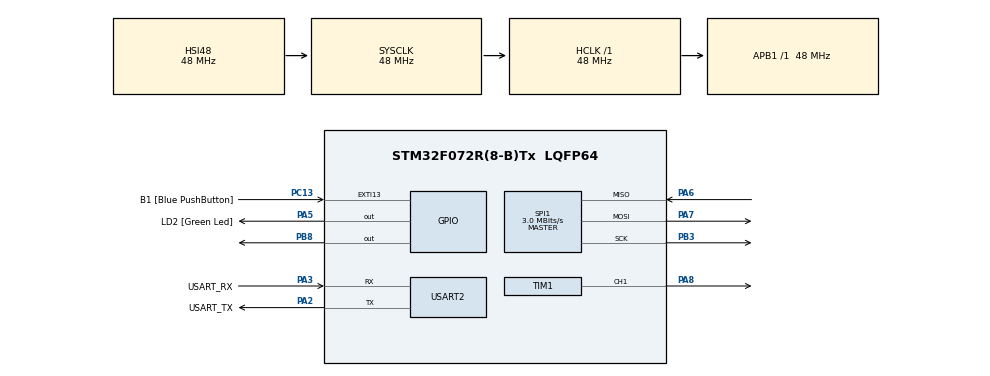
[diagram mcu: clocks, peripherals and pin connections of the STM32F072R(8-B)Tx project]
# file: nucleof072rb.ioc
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Mcu.Family=STM32F0
Mcu.Name=STM32F072R(8-B)Tx
Mcu.Package=LQFP64
PA13.GPIO_Label=TMS
PA13.Mode=Serial_Wire
PA13.Signal=SYS_SWDIO
PA14.GPIO_Label=TCK
PA14.Mode=Serial_Wire
PA14.Signal=SYS_SWCLK
PA2.GPIO_Label=USART_TX
PA2.GPIO_Mode=GPIO_MODE_AF_PP
PA2.GPIO_PuPd=GPIO_NOPULL
PA2.GPIO_Speed=GPIO_SPEED_FREQ_LOW
PA2.Mode=Asynchronous
PA2.Signal=USART2_TX
PA3.GPIO_Label=USART_RX
PA3.GPIO_Mode=GPIO_MODE_AF_PP
PA3.GPIO_PuPd=GPIO_NOPULL
PA3.GPIO_Speed=GPIO_SPEED_FREQ_LOW
PA3.Mode=Asynchronous
PA3.Signal=USART2_RX
PA5.GPIO_Label=LD2 [Green Led]
PA5.GPIO_Mode=GPIO_MODE_OUTPUT_PP
PA5.GPIO_PuPd=GPIO_NOPULL
PA5.GPIO_Speed=GPIO_SPEED_FREQ_LOW
PA5.Signal=GPIO_Output
PA6.Mode=Full_Duplex_Master
PA6.Signal=SPI1_MISO
PA7.Mode=Full_Duplex_Master
PA7.Signal=SPI1_MOSI
PA8.Signal=S_TIM1_CH1
PB3.Mode=Full_Duplex_Master
PB3.Signal=SPI1_SCK
PB8.Signal=GPIO_Output
PC13.GPIO_Label=B1 [Blue PushButton]
PC13.GPIO_ModeDefaultEXTI=GPIO_MODE_IT_FALLING
PC13.Signal=GPXTI13
PC14-OSC32_IN.Mode=LSE-External-Oscillator
PC14-OSC32_IN.Signal=RCC_OSC32_IN
PC15-OSC32_OUT.Mode=LSE-External-Oscillator
PC15-OSC32_OUT.Signal=RCC_OSC32_OUT
PF0-OSC_IN.Mode=HSE-External-Clock-Source
PF0-OSC_IN.Signal=RCC_OSC_IN
PF1-OSC_OUT.Signal=RCC_OSC_OUT
ProjectManager.HeapSize=0x200
ProjectManager.StackSize=0x400
ProjectManager.TargetToolchain=STM32CubeIDE
RCC.AHBFreq_Value=48000000
RCC.APB1Freq_Value=48000000
RCC.APB1TimFreq_Value=48000000
RCC.FLatency-AdvancedSettings=FLASH_LATENCY_1
RCC.HCLKFreq_Value=48000000
RCC.PLLDivider=RCC_PREDIV_DIV2
RCC.PLLMUL=RCC_PLL_MUL12
RCC.PREFETCH_ENABLE-AdvancedSettings=1
RCC.SYSCLKFreq_VALUE=48000000
RCC.SYSCLKSource=RCC_SYSCLKSOURCE_HSI48
SH.S_TIM1_CH1.0=TIM1_CH1,PWM Generation1 CH1
SPI1.BaudRatePrescaler=SPI_BAUDRATEPRESCALER_16
SPI1.CalculateBaudRate=3.0 MBits/s
SPI1.DataSize=SPI_DATASIZE_8BIT
SPI1.Direction=SPI_DIRECTION_2LINES
SPI1.Mode=SPI_MODE_MASTER
SPI1.VirtualType=VM_MASTER
TIM1.Channel-PWM\ Generation1\ CH1=TIM_CHANNEL_1
TIM1.Period=59999
TIM1.Prescaler=15
TIM1.Pulse-PWM\ Generation1\ CH1=4500
USART2.VirtualMode=VM_ASYNC
USART2.VirtualMode-Asynchronous=VM_ASYNC
VP_TIM1_VS_ClockSourceINT.Mode=Internal
board=NUCLEO-F072RB

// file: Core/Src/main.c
/* USER CODE BEGIN Header */
/**
  ******************************************************************************
  * @file           : main.c
  * @brief          : Main program body
  ******************************************************************************
  * @attention
  *
  * <h2><center>&copy; Copyright (c) 2021 STMicroelectronics.
  * All rights reserved.</center></h2>
  *
  * This software component is licensed by ST under BSD 3-Clause license,
  * the "License"; You may not use this file except in compliance with the
  * License. You may obtain a copy of the License at:
  *                        opensource.org/licenses/BSD-3-Clause
  *
  ******************************************************************************
  */
/* USER CODE END Header */
#include "main.h"
#include "spi.h"
#include "tim.h"
#include "usart.h"
#include "gpio.h"

/* USER CODE BEGIN PV */
// txBuf
// [1] - Start bit is 1
// [2] - Bit 7 (SGL/DIFF) = 1
// [3] - Bits 6-4 (D2, D1, D0) = 000
uint8_t txBuf[3] = {0x01, 0x80, 0x00};      // Buffer for data sent TO the ADC
uint8_t rxBuf[3];      // Buffer for data received FROM the ADC
uint16_t adcVal = 0;  // 10-bit result (0-1023)
uint16_t pulseVal = 0; // PWM pulse width (3000-6000)
const uint8_t ADC_MSG_LEN = 3;
const uint32_t SPI_TIMEOUT = 10;
const uint16_t PULSE_MIN = 3000;
const uint16_t PULSE_RANGE = 3000;
const float ADC_MAX_RES = 1023.0f;
HAL_StatusTypeDef spiStatus;
/* USER CODE END PV */

void SystemClock_Config(void);

int main(void)
{

  /* MCU Configuration--------------------------------------------------------*/

  /* Reset of all peripherals, Initializes the Flash interface and the Systick. */
  HAL_Init();

  /* Configure the system clock */
  SystemClock_Config();

  /* Initialize all configured peripherals */
  MX_GPIO_Init();
  MX_USART2_UART_Init();
  MX_SPI1_Init();
  MX_TIM1_Init();
  /* USER CODE BEGIN 2 */
  HAL_TIM_PWM_Start(&htim1, TIM_CHANNEL_1);
  HAL_GPIO_WritePin(GPIOB, GPIO_PIN_8, GPIO_PIN_SET); // Set CS high initially
  /* USER CODE END 2 */

  /* Infinite loop */
  /* USER CODE BEGIN WHILE */
  while (1) {
  // Set to low to enable ADC
  HAL_GPIO_WritePin(GPIOA, GPIO_PIN_8, GPIO_PIN_RESET);
  // Send dummy and receive
  spiStatus = HAL_SPI_TransmitReceive(&hspi1, txBuf, rxBuf, ADC_MSG_LEN, SPI_TIMEOUT);
  // Set back to high to disable ADC
  HAL_GPIO_WritePin(GPIOA, GPIO_PIN_8, GPIO_PIN_SET);
  // Check is SPI was successful
  if (spiStatus == HAL_OK) {

      // Byte 1: Ignored. Byte 2: bits 0-1 are B9-8. Byte 3: bits 0-7 are B7-0.
    adcVal = ((rxBuf[1] & 0x03) << 8) | rxBuf[2];

    // Map to pulse range using floating point to avoid integer division truncation
    pulseVal = PULSE_MIN + (uint16_t)((float)adcVal * (float)PULSE_RANGE / ADC_MAX_RES);

    __HAL_TIM_SET_COMPARE(&htim1, TIM_CHANNEL_1, pulseVal);
  } else {
    printf("SPI Error: %d\r\n", spiStatus);
  }

  HAL_Delay(10);
    /* USER CODE END WHILE */

  }
}

void SystemClock_Config(void)
{
  RCC_OscInitTypeDef RCC_OscInitStruct = {0};
  RCC_ClkInitTypeDef RCC_ClkInitStruct = {0};
  RCC_PeriphCLKInitTypeDef PeriphClkInit = {0};

  /** Initializes the RCC Oscillators according to the specified parameters
  * in the RCC_OscInitTypeDef structure.
  */
  RCC_OscInitStruct.OscillatorType = RCC_OSCILLATORTYPE_HSI48;
  RCC_OscInitStruct.HSI48State = RCC_HSI48_ON;
  RCC_OscInitStruct.PLL.PLLState = RCC_PLL_NONE;
  if (HAL_RCC_OscConfig(&RCC_OscInitStruct) != HAL_OK)
  {
    Error_Handler();
  }
  /** Initializes the CPU, AHB and APB buses clocks
  */
  RCC_ClkInitStruct.ClockType = RCC_CLOCKTYPE_HCLK|RCC_CLOCKTYPE_SYSCLK
                              |RCC_CLOCKTYPE_PCLK1;
  RCC_ClkInitStruct.SYSCLKSource = RCC_SYSCLKSOURCE_HSI48;
  RCC_ClkInitStruct.AHBCLKDivider = RCC_SYSCLK_DIV1;
  RCC_ClkInitStruct.APB1CLKDivider = RCC_HCLK_DIV1;

  if (HAL_RCC_ClockConfig(&RCC_ClkInitStruct, FLASH_LATENCY_1) != HAL_OK)
  {
    Error_Handler();
  }
  PeriphClkInit.PeriphClockSelection = RCC_PERIPHCLK_USART2;
  PeriphClkInit.Usart2ClockSelection = RCC_USART2CLKSOURCE_PCLK1;
  if (HAL_RCCEx_PeriphCLKConfig(&PeriphClkInit) != HAL_OK)
  {
    Error_Handler();
  }
}

void Error_Handler(void)
{
  __disable_irq();
  while (1)
  {
  }
}

/************************ (C) COPYRIGHT STMicroelectronics *****END OF FILE****/
